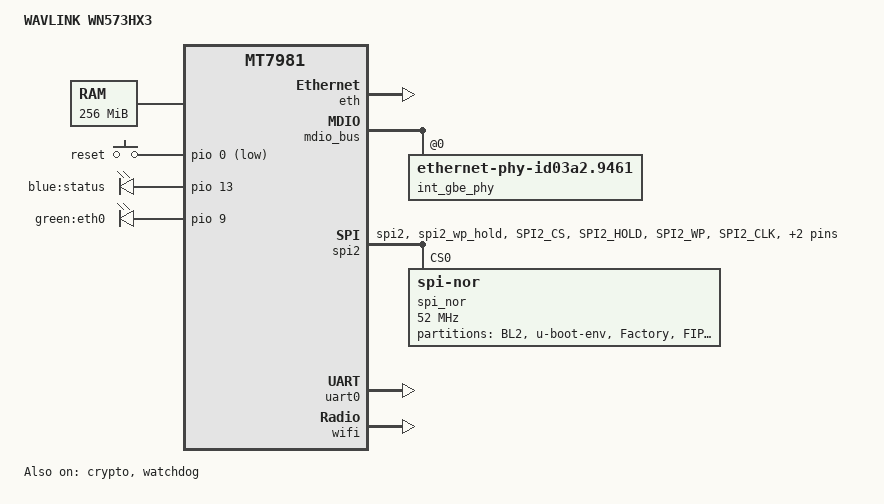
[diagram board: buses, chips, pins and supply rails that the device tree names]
// SPDX-License-Identifier: GPL-2.0-or-later OR MIT

/dts-v1/;
#include "mt7981.dtsi"

/ {
    model = "WAVLINK WN573HX3";
    compatible = "wavlink,wn573hx3", "mediatek,mt7981";

    aliases {
		label-mac-device = &gmac1;		
        led-boot = &led_status_blue;
		led-failsafe = &led_status_blue;
		led-running = &led_status_blue;
		led-upgrade = &led_status_blue;
        serial0 = &uart0;
	};

    chosen {
        bootargs = "console=ttyS0,115200n1 loglevel=8  \t\t\t\tearlycon=uart8250,mmio32,0x11002000";
    };

    memory {
        reg = <0 0x40000000 0 0x10000000>;
    };

    keys {
        compatible = "gpio-keys";

        reset {
            label = "reset";
            linux,code = <KEY_RESTART>;
            gpios = <&pio 0 GPIO_ACTIVE_LOW>;
        };
    };

    leds {
        compatible = "gpio-leds";

        led_status_blue: status_led {
            label = "blue:status";
            gpios = <&pio 13 GPIO_ACTIVE_HIGH>;
        };

        eth0_led: eth0 {
            label = "green:eth0";
            gpios = <&pio 9 GPIO_ACTIVE_HIGH>;
            default-state = "off";
        };
    };
};

&eth {
    status = "okay";

	gmac1: mac@1 {
		compatible = "mediatek,eth-mac";
		reg = <1>;
		phy-mode = "gmii";
		phy-handle = <&int_gbe_phy>;

        nvmem-cells = <&macaddr_factory_3fffa>;
	    nvmem-cell-names = "mac-address";
	};
};

&mdio_bus {
    int_gbe_phy: ethernet-phy@0 {
		compatible = "ethernet-phy-id03a2.9461";
	};
};

&crypto {
	status = "okay";
};

&pio {
	spi1_flash_pins: spi1-pins {
		mux {
            function = "spi";
            groups = "spi1_1";
        };
	};

	spi2_flash_pins: spi2-pins {
		mux {
            function = "spi";
            groups = "spi2", "spi2_wp_hold";
		};

		conf-pu {
			pins = "SPI2_CS", "SPI2_HOLD", "SPI2_WP";
			drive-strength = <MTK_DRIVE_8mA>;
            bias-pull-up = <MTK_PUPD_SET_R1R0_11>;
		};


		conf-pd {
			pins = "SPI2_CLK", "SPI2_MOSI", "SPI2_MISO";
			drive-strength = <MTK_DRIVE_8mA>;
            bias-pull-up = <MTK_PUPD_SET_R1R0_11>;
		};
	};
};

&spi2 {
    compatible = "mediatek,ipm-spi-quad", "mediatek,spi-ipm";
    pinctrl-names = "default";
    pinctrl-0 = <&spi2_flash_pins>;
    status = "okay";

    spi_nor@0 {
        #address-cells = <1>;
        #size-cells = <1>;

        compatible = "jedec,spi-nor";
        reg = <0>;

        spi-max-frequency = <52000000>;
        spi-tx-buswidth = <4>;
        spi-rx-buswidth = <4>;

        // spi-cal-enable;
        // spi-cal-mode = "read-data";
        // spi-cal-datalen = <7>;
        // spi-cal-data = [53 46 5f 42 4f 4f 54];
        // spi-cal-addrlen = <1>;
        // spi-cal-addr = <0x00>;

        partitions {
			compatible = "fixed-partitions";
			#address-cells = <1>;
			#size-cells = <1>;

            partition@00000 {
                label = "BL2";
                reg = <0x00 0x40000>;
                read-only;
            };

            partition@40000 {
                label = "u-boot-env";
                reg = <0x40000 0x10000>;
                read-only;
            };

            factory: partition@50000 {
                label = "Factory";
                reg = <0x50000 0xb0000>;
                read-only;
            };

            partition@100000 {
                label = "FIP";
                reg = <0x100000 0x80000>;
                read-only;
            };

            partition@180000 {
                compatible = "denx,fit";
                label = "firmware";
                reg = <0x180000 0xe00000>;
            };

            partition@F80000 {
                label = "HW";
                reg = <0xf80000 0x80000>;
            };

            all {
                label = "all";
                reg = <0x00 0x1000000>;
            };
        };
    };
};

&uart0 {
	status = "okay";
};

&watchdog {
	status = "okay";
};

&factory {
	compatible = "nvmem-cells";
	#address-cells = <1>;
	#size-cells = <1>;

    macaddr_factory_4: macaddr@4 {
        reg = <0x4 0x6>;
    };

	macaddr_factory_3fff4: macaddr@3fff4 {
		reg = <0x3fff4 0x6>;
	};

    macaddr_factory_3fffa: macaddr@3fffa {
		reg = <0x3fffa 0x6>;
	};
};

&wifi {
    mediatek,mtd-eeprom = <&factory 0x0>;
	status = "okay";
};

// #################
// reset-controller {
// 			compatible = "ti,syscon-reset";
// 			#reset-cells = <0x01>;
// 			ti,reset-bits = <0x34 0x04 0x34 0x04 0x34 0x04 0x28>;
// 			phandle = <0x07>;
// 		};

// vs Nothing
// ################
// 	wed@15010000 {
// 		compatible = "mediatek,wed";
// 		wed_num = <0x02>;
// vs
//     wed: wed@15010000 {
// 		compatible = "mediatek,mt7981-wed",
// 			     "mediatek,mt7986-wed",
// 			     "syscon";
// ################      
// 	hnat@15000000 {
// 		compatible = "mediatek,mtk-hnat_v4";
// 		reg = <0x00 0x15100000 0x00 0x80000>;
// 		resets = <0x0d 0x00>;
// 		reset-names = "mtketh";
// 		status = "okay";
// 		mtketh-wan = "eth1";
// 		mtketh-lan = "lan";
// 		mtketh-max-gmac = <0x02>;
// 	};
// vs Nothing
// ################ 
// wbsys@18000000 {
// 		compatible = "mediatek,wbsys";
// 		reg = <0x00 0x18000000 0x00 0x1000000>;
// 		interrupts = <0x00 0xd5 0x04 0x00 0xd6 0x04 0x00 0xd7 0x04 0x00 0xd8 0x04>;
// 		chip_id = <0x7981>;
// 	};
// vs Nothing
// ################
// 	spi@1100b000 {
// 		compatible = "mediatek,ipm-spi-single";
//      pinctrl-0 = <0x14>;
// vs
// spi1: spi@1100b000 {
// 		compatible = "mediatek,mt7986-spi-ipm", "mediatek,spi-ipm";
// ################
// 	spi@11009000 {
// 		compatible = "mediatek,ipm-spi-quad";
//      status = "okay";
// 		pinctrl-names = "default";
// 		pinctrl-0 = <0x15>;
// vs 
// 	spi2: spi@11009000 {
// 		compatible = "mediatek,mt7986-spi-ipm", "mediatek,spi-ipm";
// ################
// 	usb-phy@11e10000 {
// 		#address-cells = <0x02>;
// 		#size-cells = <0x02>;
//      ranges;
// 		status = "okay";

//         usb-phy@11e10000 {
//             reg = <0x00 0x11e10000 0x00 0x700>;
//             status = "okay";
//         }

//         usb-phy@11e10700 {
// 			reg = <0x00 0x11e10700 0x00 0x900>;
// 			nvmem-cells = <0x19 0x1a 0x1b>;
// 			nvmem-cell-names = "intr\0rx_imp\0tx_imp";
// 		};
//     };           
// vs
// 	usb_phy: usb-phy@11e10000 {
// 		#address-cells = <1>;
// 		#size-cells = <1>;
//         ranges = <0 0 0x11e10000 0x1700>;
//         status = "disabled";

//         u2port0: usb-phy@0 {
// 			reg = <0x0 0x700>;
//         };

//         u3port0: usb-phy@700 {
// 			reg = <0x700 0x900>;
// 		};
//     };
// ################
// 	clkitg {
// 		compatible = "simple-bus";

// 		bring-up {
// 			compatible = "mediatek,clk-bring-up";
// 			clocks = <0x05 0x00 0x05 0x01 0x05 0x02 0x05 0x03 0x05 0x04 0x05 0x05 0x05 0x06 0x05 0x07 0x09 0x00 0x1c 0x09 0x02 0x09 0x03 0x09 0x04 0x1c 0x09 0x06 0x09 0x07 0x1c 0x1c 0x1c 0x1c 0x09 0x0c 0x09 0x0d 0x09 0x0e 0x09 0x0f 0x09 0x10 0x09 0x11 0x1c 0x1c 0x1c 0x1c 0x1c 0x09 0x17 0x09 0x18 0x09 0x1a 0x09 0x1b 0x09 0x1c 0x09 0x1d 0x09 0x1e 0x09 0x1f 0x09 0x20 0x09 0x21 0x1c 0x09 0x23 0x1c 0x1c 0x1c 0x1c 0x1c 0x1c 0x1c 0x1c 0x1c 0x02 0x0b 0x1c 0x1c 0x1c 0x1c 0x02 0x11 0x1c 0x1c 0x1c 0x1c 0x1c 0x02 0x17 0x1c 0x02 0x19 0x02 0x1a 0x02 0x1b 0x1c 0x1c 0x1c 0x1c 0x1c 0x1c 0x1c 0x1c 0x1c 0x1c 0x1c 0x1c 0x1c 0x1c 0x02 0x2a 0x02 0x2b 0x02 0x2c 0x02 0x2d 0x02 0x2e 0x1c 0x1c 0x02 0x31 0x02 0x32 0x02 0x33 0x02 0x34 0x02 0x35 0x02 0x36 0x02 0x37 0x1c 0x1c 0x1c 0x08 0x01 0x1c 0x08 0x05 0x08 0x06 0x08 0x07 0x08 0x04 0x08 0x09 0x08 0x0c 0x08 0x0f 0x08 0x10 0x08 0x12 0x08 0x14 0x08 0x15 0x08 0x16 0x08 0x17 0x08 0x19 0x08 0x1a 0x1c 0x08 0x1d 0x08 0x1e 0x08 0x21 0x1c 0x08 0x24 0x08 0x25 0x1c 0x08 0x29 0x08 0x26 0x08 0x2b 0x08 0x2a 0x1c 0x08 0x31 0x1c 0x1c 0x1c 0x08 0x56 0x08 0x37 0x08 0x3d 0x08 0x3e 0x08 0x3f 0x08 0x45 0x08 0x41 0x08 0x46 0x08 0x47 0x08 0x48 0x08 0x49 0x08 0x4a 0x08 0x3a 0x1c 0x1c 0x1c 0x1c 0x08 0x52 0x1c 0x1c 0x1c 0x08 0x56 0x08 0x57 0x08 0x58 0x08 0x59 0x08 0x5a 0x08 0x5b 0x08 0x5c 0x08 0x5d 0x08 0x5e 0x08 0x5f 0x1c 0x1c 0x08 0x62 0x08 0x5e 0x1c 0x08 0x64 0x08 0x56 0x08 0x69 0x08 0x6a 0x08 0x6b 0x08 0x6c>;
// 			clock-names = "0\01\02\03\04\05\06\07\08\09\010\011\012\013\014\015\016\017\018\019\020\021\022\023\024\025\026\027\028\029\030\031\032\033\034\035\036\037\038\039\040\041\042\043\044\045\046\047\048\049\050\051\052\053\054\055\056\057\058\059\060\061\062\063\064\065\066\067\068\069\070\071\072\073\074\075\076\077\078\079\080\081\082\083\084\085\086\087\088\089\090\091\092\093\094\095\096\097\098\099\0100\0101\0102\0103\0104\0105\0106\0107\0108\0109\0110\0111\0112\0113\0114\0115\0116\0117\0118\0119\0120\0121\0122\0123\0124\0125\0126\0127\0128\0129\0130\0131\0132\0133\0134\0135\0136\0137\0138\0139\0140\0141\0142\0143\0144\0145\0146\0147\0148\0149\0150\0151\0152\0153\0154\0155\0156\0157\0158\0159\0160\0161\0162\0163\0164\0165\0166\0167\0168\0169\0170\0171\0172\0173\0174\0175\0176\0177\0178\0179\0180\0181\0182\0183";
// 		};
// 	};
// va Nothing    
// ################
